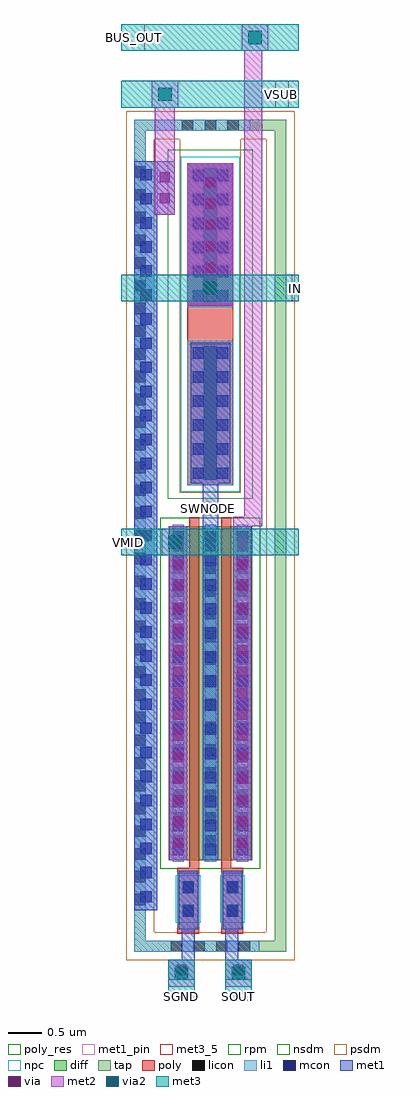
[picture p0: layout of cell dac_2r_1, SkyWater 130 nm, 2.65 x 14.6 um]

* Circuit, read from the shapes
.subckt dac_2r_1 BUS_OUT IN SGND SOUT SWNODE VMID VSUB
XM1 SWNODE SGND VMID VSUB sky130_fd_pr__nfet_01v8 w=5 l=0.15
XM2 BUS_OUT SOUT SWNODE VSUB sky130_fd_pr__nfet_01v8 w=5 l=0.15
XR3 IN SWNODE VSUB sky130_fd_pr__res_high_po w=0.69 l=0.5
.ends

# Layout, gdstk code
import gdstk
lib = gdstk.Library(unit=1e-6, precision=1e-09)
def R(c, l, rs):  # rectangles x0, y0, x1, y1
    for r in rs: c.add(gdstk.rectangle(r[:2], r[2:], *l))
def A(c, l, x, y, w, h, nx, ny, dx, dy):  # array of equal rectangles
    R(c, l, [(x+i*dx, y+j*dy, x+i*dx+w, y+j*dy+h) for i in range(nx) for j in range(ny)])
diff = (65, 20)
tap = (65, 44)
poly_res = (66, 13)
poly = (66, 20)
licon = (66, 44)
li1 = (67, 20)
mcon = (67, 44)
met1_pin = (68, 16)
met1 = (68, 20)
via = (68, 44)
met2 = (69, 20)
via2 = (69, 44)
met3_5 = (70, 5)
met3 = (70, 20)
rpm = (86, 20)
nsdm = (93, 44)
psdm = (94, 20)
npc = (95, 20)

dac_2r_1 = lib.new_cell('dac_2r_1')
R(dac_2r_1, diff, [(6.005,4.34,7.255,9.34)])
R(dac_2r_1, tap, [(5.495,2.97,7.765,3.14), (5.495,3.14,5.665,15.25), (7.595,3.14,7.765,15.25), (5.495,15.25,7.765,15.42)])
R(dac_2r_1, poly_res, [(6.285,12.05,6.975,12.67)])
R(dac_2r_1, poly, [(6.135,3.24,6.465,4.23), (6.795,3.24,7.125,4.23), (6.315,4.23,6.465,9.47), (6.795,4.23,6.945,9.47), (6.285,9.95,6.975,14.77)])
A(dac_2r_1, licon, 6.035, 2.97, 0.17, 0.17, 4, 1, 0.34, 0)
A(dac_2r_1, licon, 5.495, 3.67, 0.17, 0.17, 1, 33, 0, 0.34)
A(dac_2r_1, licon, 6.065, 4.545, 0.17, 0.17, 3, 14, 0.48, 0.34)
A(dac_2r_1, licon, 6.205, 15.25, 0.17, 0.17, 3, 1, 0.34, 0)
R(dac_2r_1, licon, [(6.215,3.505,6.385,3.675), (6.875,3.505,7.045,3.675), (6.215,3.845,6.385,4.015), (6.875,3.845,7.045,4.015), (6.535,10.03,6.725,12.03), (6.535,12.69,6.725,14.69)])
A(dac_2r_1, li1, 6.065, 4.32, 0.17, 5.04, 3, 1, 0.48, 0)
R(dac_2r_1, li1, [(5.495,2.97,7.365,3.14), (5.495,3.14,5.665,3.59), (6.155,3.31,6.445,3.34), (6.815,3.31,7.105,3.34), (6.135,3.34,6.465,4.15), (6.795,3.34,7.125,4.15), (5.495,3.59,5.835,14.8), (6.285,9.95,6.975,12.11), (6.285,12.61,6.975,14.77), (5.495,14.8,5.665,15.25), (5.495,15.25,7.225,15.42)])
A(dac_2r_1, mcon, 5.58, 3.71, 0.17, 0.17, 1, 31, 0, 0.36)
A(dac_2r_1, mcon, 6.065, 4.415, 0.17, 0.17, 3, 14, 0.48, 0.36)
A(dac_2r_1, mcon, 6.365, 10.045, 0.17, 0.17, 1, 6, 0, 0.36)
A(dac_2r_1, mcon, 6.725, 10.045, 0.17, 0.17, 1, 6, 0, 0.36)
A(dac_2r_1, mcon, 6.365, 12.7, 0.17, 0.17, 1, 6, 0, 0.36)
A(dac_2r_1, mcon, 6.725, 12.7, 0.17, 0.17, 1, 6, 0, 0.36)
R(dac_2r_1, mcon, [(6.215,3.495,6.385,3.665), (6.875,3.495,7.045,3.665), (6.215,3.855,6.385,4.025), (6.875,3.855,7.045,4.025)])
R(dac_2r_1, met1_pin, [(6.55,9.5,6.65,9.7)])
R(dac_2r_1, met1, [(6,2.55,6.4,2.85), (6.85,2.55,7.25,2.85), (6.2,2.85,6.4,3.31), (6.85,2.85,7.05,3.31), (6.155,3.31,6.445,4.18), (6.815,3.31,7.105,4.18), (5.495,3.59,5.835,14), (6.015,4.34,6.285,9.34), (6.515,4.34,6.745,9.98), (6.975,4.34,7.245,9.34), (6.335,9.98,6.925,12.085), (6.285,12.635,6.975,14.77), (5.495,14,6.1,14.8)])
A(dac_2r_1, via, 6.075, 4.525, 0.15, 0.15, 1, 15, 0, 0.32)
A(dac_2r_1, via, 7.035, 4.525, 0.15, 0.15, 1, 15, 0, 0.32)
A(dac_2r_1, via, 6.555, 12.81, 0.15, 0.15, 1, 6, 0, 0.32)
R(dac_2r_1, via, [(6.125,2.625,6.275,2.775), (6.975,2.625,7.125,2.775), (5.875,14.165,6.025,14.315), (5.875,14.485,6.025,14.635)])
R(dac_2r_1, met2, [(6,2.45,6.4,2.85), (6.85,2.45,7.25,2.85), (6.015,4.34,6.285,8.9), (6.975,4.34,7.245,9.34), (5.9,8.9,6.285,9.3), (6.015,9.3,6.285,9.34), (6.975,9.34,7.41,9.48), (7.14,9.48,7.41,16.45), (6.285,12.635,6.975,14.77), (5.8,14,6.1,15.6), (5.75,15.6,6.15,16), (7.1,16.45,7.5,16.85)])
R(dac_2r_1, via2, [(6.1,2.55,6.3,2.75), (6.95,2.55,7.15,2.75), (6,9,6.2,9.2), (6.525,12.8,6.725,13), (5.85,15.7,6.05,15.9), (7.2,16.55,7.4,16.75)])
R(dac_2r_1, met3_5, [(6,2.25,6.4,2.35), (6.85,2.25,7.25,2.35), (5.3,8.9,5.5,9.3), (7.85,12.7,7.95,13.1), (7.6,15.6,7.8,16), (5.3,16.45,5.65,16.85)])
R(dac_2r_1, met3, [(6,2.25,6.4,2.85), (6.85,2.25,7.25,2.85), (5.3,8.9,7.95,9.3), (5.3,12.7,7.95,13.1), (5.3,15.6,7.95,16), (5.3,16.45,7.95,16.85)])
R(dac_2r_1, rpm, [(5.995,9.75,7.265,14.97)])
R(dac_2r_1, nsdm, [(5.88,4.215,7.38,9.465)])
R(dac_2r_1, psdm, [(5.37,2.845,7.89,3.265), (5.37,3.265,5.79,15.125), (7.47,3.265,7.89,15.125), (6.175,9.84,7.085,15.125), (5.37,15.125,7.89,15.545)])
R(dac_2r_1, npc, [(6.115,3.405,6.485,4.115), (6.775,3.405,7.145,4.115), (6.19,9.855,7.07,14.865)])
dac_2r_1.add(gdstk.Label('SWNODE', (6.6,9.6), layer=68, texttype=16))
dac_2r_1.add(gdstk.Label('BUS_OUT', (5.475,16.65), layer=70, texttype=5))
dac_2r_1.add(gdstk.Label('SOUT', (7.05,2.3), layer=70, texttype=5))
dac_2r_1.add(gdstk.Label('SGND', (6.2,2.3), layer=70, texttype=5))
dac_2r_1.add(gdstk.Label('VSUB', (7.7,15.8), layer=70, texttype=5))
dac_2r_1.add(gdstk.Label('IN', (7.9,12.9), layer=70, texttype=5))
dac_2r_1.add(gdstk.Label('VMID', (5.4,9.1), layer=70, texttype=5))

lib.write_gds('dac_2r_1.gds')
